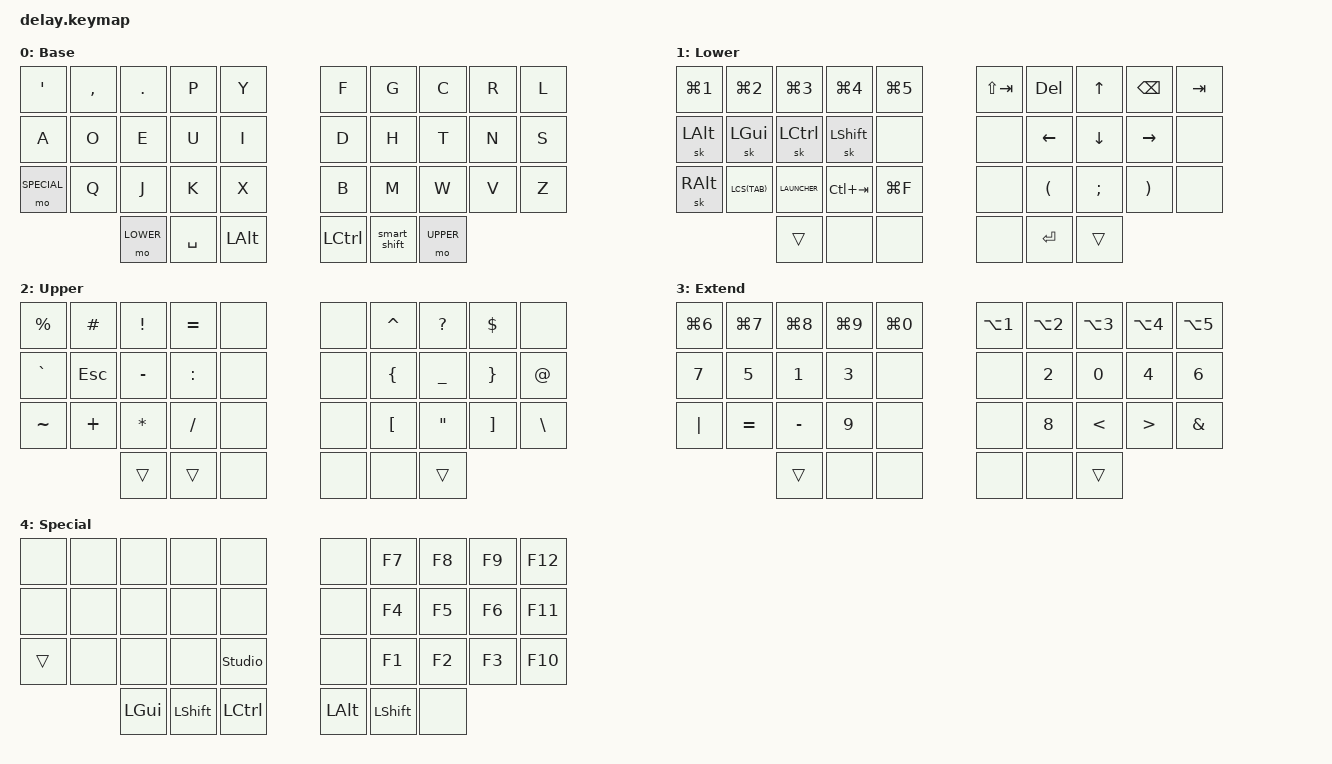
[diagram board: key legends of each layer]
/*
 * Copyright (c) 2024 Charly Delay <0xcharly>
 *
 * SPDX-License-Identifier: MIT
 */

#include <behaviors.dtsi>
#include <dt-bindings/zmk/keys.h>
#include <dt-bindings/zmk/ext_power.h>
#include <dt-bindings/zmk/keys.h>

// Layers & HRM config.
#define DVORAK 0
#define LOWER 1
#define UPPER 2
#define EXTEND 3
#define SPECIAL 4

// Custom keycodes.
#define LAUNCHER (LG(SPACE))
#define LCS(kp) (LC(LS(kp)))

// Adjust sticky-keys configuration.
&sk {
    release-after-ms = <900>;  // Release after 0.9s.
    quick-release;             // No double capitalization when rolling keys.
};

// Adjust Caps Word configuration.
&caps_word {
  continue-list = <UNDERSCORE MINUS BACKSPACE DELETE>;
};

// Custom behaviors.
/ {
  behaviors {
    // tap: sticky-shift | shift + tap/ double-tap: caps-word | hold: nav layer.
    smart_shift: smart_shift {
      compatible = "zmk,behavior-mod-morph";
      #binding-cells = <0>;
      bindings = <&sk LSHFT>, <&caps_word>;
      mods = <(MOD_LSFT|MOD_RSFT)>;
    };
  };
};

// Tri-layers.
/ {
  conditional_layers {
    // LOWER + UPPER -> EXTEND
    compatible = "zmk,conditional-layers";
    tri_layers_extend {
      if-layers = <LOWER UPPER>;
      then-layer = <EXTEND>;
    };
  };
};

// Layout.
/ {
  // Dvorak base layer.
  keymap {
    compatible = "zmk,keymap";

    // Traditional Dvorak layout.
    dvorak {
      display-name = "Base";
      bindings = <
   // ╭──────────────────────────────────────────────────────────────────╮ ╭──────────────────────────────────────────────────────────────────╮
        &kp APOS     &kp COMMA    &kp DOT      &kp P        &kp Y            &kp F        &kp G        &kp C        &kp R        &kp L
        &kp A        &kp O        &kp E        &kp U        &kp I            &kp D        &kp H        &kp T        &kp N        &kp S
        &mo SPECIAL  &kp Q        &kp J        &kp K        &kp X            &kp B        &kp M        &kp W        &kp V        &kp Z
   // ╰──────────────────────────────────────────────────────────────────┤ ├──────────────────────────────────────────────────────────────────╯
                                  &mo LOWER    &kp SPACE    &kp LALT         &kp LCTRL    &smart_shift &mo UPPER
   //                           ╰────────────────────────────────────────╯ ╰────────────────────────────────────────╯
      >;
    };

    /**
     * Lower layer. Left thumb down.
     *
     * Symbols.
     *
     *   - Primary hand (left):
     *     - Home-row sticky mods.
     *     - Desktop navigation.
     *   - Secondary hand (right):
     *     - Tab, Shift-Tab, backspace, delete.
     *     - Inverted T arrow cluster.
     *     - Semi-colon for synergy with parenthesis.
     */
    lower {
      display-name = "Lower";
      bindings = <
   // ╭──────────────────────────────────────────────────────────────────╮ ╭──────────────────────────────────────────────────────────────────╮
        &kp LG(N1)   &kp LG(N2)   &kp LG(N3)   &kp LG(N4)   &kp LG(N5)       &kp LS(TAB)  &kp DEL      &kp UP       &kp BSPC     &kp TAB
        &sk LALT     &sk LGUI     &sk LCTRL    &sk LSHIFT   &none            &none        &kp LEFT     &kp DOWN     &kp RIGHT    &none
        &sk RALT     &kp LCS(TAB) &kp LAUNCHER &kp LC(TAB)  &kp LG(F)        &none        &kp LPAR     &kp SEMI     &kp RPAR     &none
   // ╰──────────────────────────────────────────────────────────────────┤ ├──────────────────────────────────────────────────────────────────╯
                                  &trans /*↓*/ &none        &none            &none        &kp ENTER    &trans
   //                           ╰────────────────────────────────────────╯ ╰────────────────────────────────────────╯
      >;
    };

    /**
     * Upper layer. Right thumb down.
     *
     * Symbols.
     *
     *   - Primary hand (right):
     *     - Underscore for symmetry with dash on other half.
     *     - Caret and dollar for Vi-motions.
     *     - Square and curly brackets.
     *     - Double quotes for modal editors registry.
     *   - Secondary hand (left):
     *     - Most common operators.
     */
    upper {
      display-name = "Upper";
      bindings = <
   // ╭──────────────────────────────────────────────────────────────────╮ ╭──────────────────────────────────────────────────────────────────╮
        &kp PERCENT  &kp HASH     &kp EXCL     &kp EQUAL    &none            &none        &kp CARET    &kp QMARK    &kp DOLLAR   &none
        &kp GRAVE    &kp ESCAPE   &kp MINUS    &kp COLON    &none            &none        &kp LBRC     &kp UNDER    &kp RBRC     &kp AT
        &kp TILDE    &kp PLUS     &kp ASTERISK &kp SLASH    &none            &none        &kp LBKT     &kp DQT      &kp RBKT     &kp BSLH
   // ╰──────────────────────────────────────────────────────────────────┤ ├──────────────────────────────────────────────────────────────────╯
                                  &trans       &trans       &none            &none        &none        &trans /*↓*/
   //                           ╰────────────────────────────────────────╯ ╰────────────────────────────────────────╯
      >;
    };

    /**
     * Extend layer. Classic tri-layer activated from both lower and upper layers.
     *
     * Numbers and some symbols.
     *
     *   - Optimized numrow.
     *   - Base-layer symbols so that every symbol is accessible by moving at most one finger.
     */
    extend {
      display-name = "Extend";
      bindings = <
   // ╭──────────────────────────────────────────────────────────────────╮ ╭──────────────────────────────────────────────────────────────────╮
        &kp LG(N6)   &kp LG(N7)   &kp LG(N8)   &kp LG(N9)   &kp LG(N0)       &kp LA(N1)   &kp LA(N2)   &kp LA(N3)   &kp LA(N4)   &kp LA(N5)
        &kp N7       &kp N5       &kp N1       &kp N3       &none            &none        &kp N2       &kp N0       &kp N4       &kp N6
        &kp PIPE     &kp EQUAL    &kp MINUS    &kp N9       &none            &none        &kp N8       &kp LT       &kp GT       &kp AMPS
   // ╰──────────────────────────────────────────────────────────────────┤ ├──────────────────────────────────────────────────────────────────╯
                                  &trans /*↓*/ &none        &none            &none        &none        &trans /*↓*/
   //                           ╰────────────────────────────────────────╯ ╰────────────────────────────────────────╯
      >;
    };

    /**
     * F-row layer.
     *
     * More desktop shortcuts and navigation, and lesser used keys.
     *
     *   - F-keys.
     */
    special {
      display-name = "Special";
      bindings = <
   // ╭──────────────────────────────────────────────────────────────────╮ ╭──────────────────────────────────────────────────────────────────╮
        &none        &none        &none        &none        &none            &none        &kp F7       &kp F8       &kp F9       &kp F12
        &none        &none        &none        &none        &none            &none        &kp F4       &kp F5       &kp F6       &kp F11
        &trans /*↓*/ &none        &none        &none        &studio_unlock   &none        &kp F1       &kp F2       &kp F3       &kp F10
   // ╰──────────────────────────────────────────────────────────────────┤ ├──────────────────────────────────────────────────────────────────╯
                                  &kp LGUI     &kp LSHIFT   &kp LCTL         &kp LALT     &kp LSHIFT   &none
   //                           ╰────────────────────────────────────────╯ ╰────────────────────────────────────────╯
      >;
    };
  };
};
